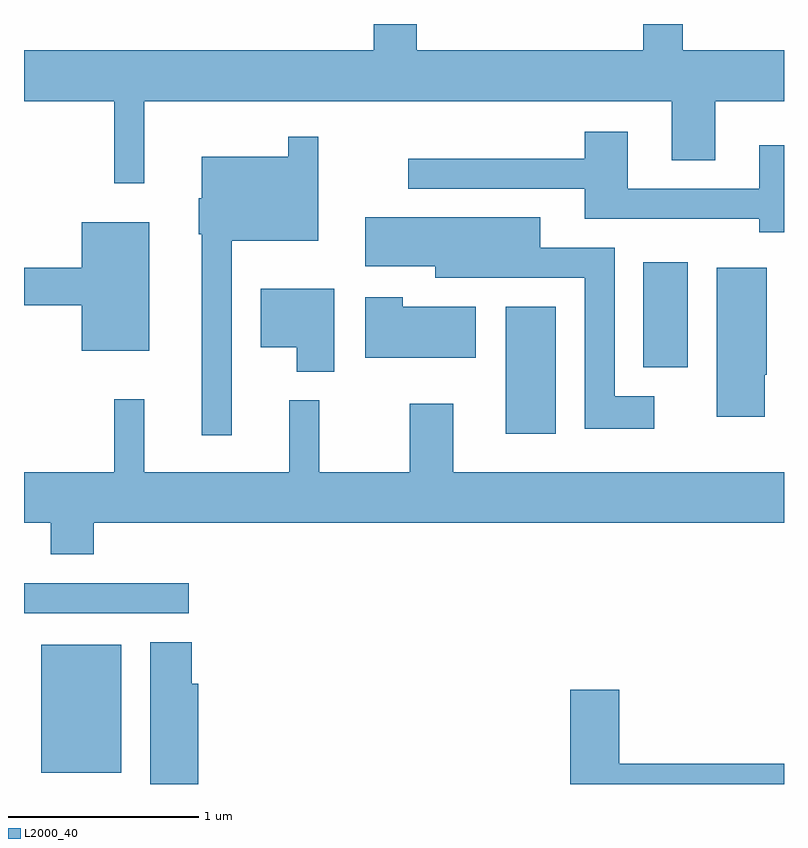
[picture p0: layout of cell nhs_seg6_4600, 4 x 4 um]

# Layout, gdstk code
import gdstk
lib = gdstk.Library(unit=1e-6, precision=1e-09)
def R(c, l, rs):  # rectangles x0, y0, x1, y1
    for r in rs: c.add(gdstk.rectangle(r[:2], r[2:], *l))
def P(c, l, *ps):  # polygons
    for p in ps: c.add(gdstk.Polygon(p, *l))
L2000_40 = (2000, 40)

nhs_seg6_4600 = lib.new_cell('nhs_seg6_4600')
R(nhs_seg6_4600, L2000_40, [(325.701,1604.221,326.124,1604.894), (325.611,1605.061,326.478,1605.219), (328.146,1606.006,328.409,1606.674), (328.871,1606.356,329.104,1606.909)])
P(nhs_seg6_4600, L2000_40, [(326.244,1607.756),(329.021,1607.756),(329.021,1607.446),(329.249,1607.446),(329.249,1607.756),(329.611,1607.756),(329.611,1608.024),(329.079,1608.024),(329.079,1608.162),(328.871,1608.162),(328.871,1608.024),(327.679,1608.024),(327.679,1608.162),(327.451,1608.162),(327.451,1608.024),(325.611,1608.024),(325.611,1607.756),(326.086,1607.756),(326.086,1607.323),(326.244,1607.323)],
  [(329.611,1607.524),(329.481,1607.524),(329.481,1607.294),(328.789,1607.294),(328.789,1607.594),(328.561,1607.594),(328.561,1607.454),(327.633,1607.454),(327.633,1607.296),(328.561,1607.296),(328.561,1607.136),(329.481,1607.136),(329.481,1607.066),(329.611,1607.066)],
  [(326.704,1607.021),(327.159,1607.021),(327.159,1607.568),(327.001,1607.568),(327.001,1607.464),(326.546,1607.464),(326.546,1607.245),(326.531,1607.245),(326.531,1607.055),(326.546,1607.055),(326.546,1605.998),(326.704,1605.998)],
  [(328.929,1606.204),(328.719,1606.204),(328.719,1606.984),(328.329,1606.984),(328.329,1607.144),(327.406,1607.144),(327.406,1606.886),(327.776,1606.886),(327.776,1606.826),(328.561,1606.826),(328.561,1606.031),(328.929,1606.031)],
  [(326.269,1607.119),(325.916,1607.119),(325.916,1606.879),(325.611,1606.879),(325.611,1606.681),(325.916,1606.681),(325.916,1606.441),(326.269,1606.441)],
  [(329.509,1606.315),(329.519,1606.315),(329.519,1606.879),(329.256,1606.879),(329.256,1606.096),(329.509,1606.096)],
  [(327.244,1606.769),(326.856,1606.769),(326.856,1606.461),(327.046,1606.461),(327.046,1606.331),(327.244,1606.331)],
  [(327.989,1606.674),(327.604,1606.674),(327.604,1606.724),(327.406,1606.724),(327.406,1606.406),(327.989,1606.406)],
  [(325.979,1605.536),(329.611,1605.536),(329.611,1605.804),(327.869,1605.804),(327.869,1606.164),(327.641,1606.164),(327.641,1605.804),(327.164,1605.804),(327.164,1606.183),(327.006,1606.183),(327.006,1605.804),(326.244,1605.804),(326.244,1606.188),(326.086,1606.188),(326.086,1605.804),(325.611,1605.804),(325.611,1605.536),(325.751,1605.536),(325.751,1605.371),(325.979,1605.371)],
  [(326.529,1604.689),(326.494,1604.689),(326.494,1604.909),(326.276,1604.909),(326.276,1604.162),(326.529,1604.162)],
  [(329.611,1604.269),(328.744,1604.269),(328.744,1604.659),(328.486,1604.659),(328.486,1604.162),(329.611,1604.162)])

lib.write_gds('nhs_seg6_4600.gds')
